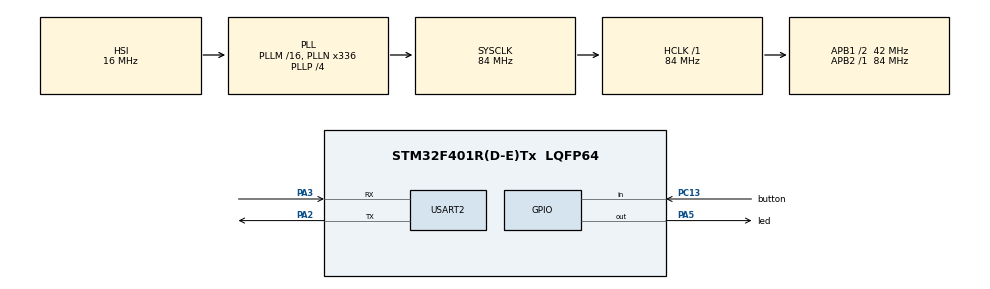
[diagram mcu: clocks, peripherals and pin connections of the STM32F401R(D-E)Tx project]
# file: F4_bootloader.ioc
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Mcu.Family=STM32F4
Mcu.Name=STM32F401R(D-E)Tx
Mcu.Package=LQFP64
NVIC.PriorityGroup=NVIC_PRIORITYGROUP_0
NVIC.USART2_IRQn=true\:0\:0\:false\:false\:true\:true\:true\:true
PA13.Mode=Serial_Wire
PA13.Signal=SYS_JTMS-SWDIO
PA14.Mode=Serial_Wire
PA14.Signal=SYS_JTCK-SWCLK
PA2.Mode=Asynchronous
PA2.Signal=USART2_TX
PA3.Mode=Asynchronous
PA3.Signal=USART2_RX
PA5.GPIO_Label=led
PA5.GPIO_Speed=GPIO_SPEED_FREQ_HIGH
PA5.Signal=GPIO_Output
PC13-ANTI_TAMP.GPIO_Label=button
PC13-ANTI_TAMP.GPIO_PuPd=GPIO_PULLUP
PC13-ANTI_TAMP.Signal=GPIO_Input
ProjectManager.HeapSize=0x200
ProjectManager.StackSize=0x400
ProjectManager.TargetToolchain=STM32CubeIDE
RCC.48MHZClocksFreq_Value=48000000
RCC.AHBFreq_Value=84000000
RCC.APB1CLKDivider=RCC_HCLK_DIV2
RCC.APB1Freq_Value=42000000
RCC.APB1TimFreq_Value=84000000
RCC.APB2Freq_Value=84000000
RCC.APB2TimFreq_Value=84000000
RCC.CortexFreq_Value=84000000
RCC.HCLKFreq_Value=84000000
RCC.HSE_VALUE=8000000
RCC.HSI_VALUE=16000000
RCC.PLLN=336
RCC.PLLP=RCC_PLLP_DIV4
RCC.PLLQ=7
RCC.SYSCLKFreq_VALUE=84000000
RCC.SYSCLKSource=RCC_SYSCLKSOURCE_PLLCLK
RCC.VCOOutputFreq_Value=336000000
USART2.VirtualMode=VM_ASYNC
board=NUCLEO-F401RE

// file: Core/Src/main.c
/* USER CODE BEGIN Header */
/**
  ******************************************************************************
  * @file           : main.c
  * @brief          : Main program body
  ******************************************************************************
  * @attention
  *
  * Copyright (c) 2026 STMicroelectronics.
  * All rights reserved.
  *
  * This software is licensed under terms that can be found in the LICENSE file
  * in the root directory of this software component.
  * If no LICENSE file comes with this software, it is provided AS-IS.
  *
  ******************************************************************************
  */
/* USER CODE END Header */
#include "main.h"

/* USER CODE BEGIN Includes */
#include "stdio.h"
#include "string.h"
#include "bootloader.h"
/* USER CODE END Includes */

UART_HandleTypeDef huart2;

/* USER CODE BEGIN PV */
uint8_t rxChar;
char messageBuffer[BUFFER_SIZE];
uint8_t bufferIndex;
uint8_t counterTest = 0;
uint32_t gotoAddress = 0x08008000UL;
uint8_t gotoAddressFlag = 0;
/* USER CODE END PV */

void SystemClock_Config(void);
static void MX_GPIO_Init(void);
static void MX_USART2_UART_Init(void);
/* USER CODE BEGIN PFP */
int _write(int file, char *ptr, int len);
void JumpToApp(uint32_t startAddress);
void uartSend(char *message);
/* USER CODE END PFP */

/* USER CODE BEGIN 0 */
int _write(int file, char *ptr, int len){
	int i=0;
	for(i = 0; i<len; i++)
		ITM_SendChar((*ptr++));
	return len;
}

void JumpToApp(uint32_t startAddress){

	uint32_t APP_STACK_POINTER = *(__IO uint32_t*) startAddress;
	uint32_t APP_RESET_HANDLER = *(__IO uint32_t*) (startAddress + 4);

	__disable_irq();
	HAL_RCC_DeInit();
	HAL_DeInit();
	__set_MSP(APP_STACK_POINTER);
	void (*AppResetHandler)(void);

	AppResetHandler = (void (*)(void)) APP_RESET_HANDLER;
	__enable_irq();
	AppResetHandler();
}

void uartSend(char *message){
	HAL_UART_Transmit(UART_PORT, (uint8_t*)message, strlen(message), HAL_MAX_DELAY);
}

/* USER CODE END 0 */

int main(void)
{

  /* MCU Configuration--------------------------------------------------------*/

  /* Reset of all peripherals, Initializes the Flash interface and the Systick. */
  HAL_Init();

  /* Configure the system clock */
  SystemClock_Config();

  /* Initialize all configured peripherals */
  MX_GPIO_Init();
  MX_USART2_UART_Init();
  /* USER CODE BEGIN 2 */
  HAL_UART_Receive_IT(&huart2, &rxChar, 1);

  /* USER CODE END 2 */

  /* Infinite loop */
  while (1)
  {

    /* USER CODE BEGIN 3 */
	if(!HAL_GPIO_ReadPin(button_GPIO_Port, button_Pin)){
		uartSend("going to app...\r\n");
#ifdef PRINT_DEBUG
		printf("going to app...\r\n");
#endif
		JumpToApp(gotoAddress);
	}
	if(gotoAddressFlag){
		JumpToApp(gotoAddress);
	}
  }
  /* USER CODE END 3 */
}

void SystemClock_Config(void)
{
  RCC_OscInitTypeDef RCC_OscInitStruct = {0};
  RCC_ClkInitTypeDef RCC_ClkInitStruct = {0};

  /** Configure the main internal regulator output voltage
  */
  __HAL_RCC_PWR_CLK_ENABLE();
  __HAL_PWR_VOLTAGESCALING_CONFIG(PWR_REGULATOR_VOLTAGE_SCALE2);

  /** Initializes the RCC Oscillators according to the specified parameters
  * in the RCC_OscInitTypeDef structure.
  */
  RCC_OscInitStruct.OscillatorType = RCC_OSCILLATORTYPE_HSI;
  RCC_OscInitStruct.HSIState = RCC_HSI_ON;
  RCC_OscInitStruct.HSICalibrationValue = RCC_HSICALIBRATION_DEFAULT;
  RCC_OscInitStruct.PLL.PLLState = RCC_PLL_ON;
  RCC_OscInitStruct.PLL.PLLSource = RCC_PLLSOURCE_HSI;
  RCC_OscInitStruct.PLL.PLLM = 16;
  RCC_OscInitStruct.PLL.PLLN = 336;
  RCC_OscInitStruct.PLL.PLLP = RCC_PLLP_DIV4;
  RCC_OscInitStruct.PLL.PLLQ = 7;
  if (HAL_RCC_OscConfig(&RCC_OscInitStruct) != HAL_OK)
  {
    Error_Handler();
  }

  /** Initializes the CPU, AHB and APB buses clocks
  */
  RCC_ClkInitStruct.ClockType = RCC_CLOCKTYPE_HCLK|RCC_CLOCKTYPE_SYSCLK
                              |RCC_CLOCKTYPE_PCLK1|RCC_CLOCKTYPE_PCLK2;
  RCC_ClkInitStruct.SYSCLKSource = RCC_SYSCLKSOURCE_PLLCLK;
  RCC_ClkInitStruct.AHBCLKDivider = RCC_SYSCLK_DIV1;
  RCC_ClkInitStruct.APB1CLKDivider = RCC_HCLK_DIV2;
  RCC_ClkInitStruct.APB2CLKDivider = RCC_HCLK_DIV1;

  if (HAL_RCC_ClockConfig(&RCC_ClkInitStruct, FLASH_LATENCY_2) != HAL_OK)
  {
    Error_Handler();
  }
}

static void MX_USART2_UART_Init(void)
{

  huart2.Instance = USART2;
  huart2.Init.BaudRate = 115200;
  huart2.Init.WordLength = UART_WORDLENGTH_8B;
  huart2.Init.StopBits = UART_STOPBITS_1;
  huart2.Init.Parity = UART_PARITY_NONE;
  huart2.Init.Mode = UART_MODE_TX_RX;
  huart2.Init.HwFlowCtl = UART_HWCONTROL_NONE;
  huart2.Init.OverSampling = UART_OVERSAMPLING_16;
  if (HAL_UART_Init(&huart2) != HAL_OK)
  {
    Error_Handler();
  }

}

static void MX_GPIO_Init(void)
{
  GPIO_InitTypeDef GPIO_InitStruct = {0};

  /* GPIO Ports Clock Enable */
  __HAL_RCC_GPIOC_CLK_ENABLE();
  __HAL_RCC_GPIOA_CLK_ENABLE();

  /*Configure GPIO pin Output Level */
  HAL_GPIO_WritePin(led_GPIO_Port, led_Pin, GPIO_PIN_RESET);

  /*Configure GPIO pin : button_Pin */
  GPIO_InitStruct.Pin = button_Pin;
  GPIO_InitStruct.Mode = GPIO_MODE_INPUT;
  GPIO_InitStruct.Pull = GPIO_PULLUP;
  HAL_GPIO_Init(button_GPIO_Port, &GPIO_InitStruct);

  /*Configure GPIO pin : led_Pin */
  GPIO_InitStruct.Pin = led_Pin;
  GPIO_InitStruct.Mode = GPIO_MODE_OUTPUT_PP;
  GPIO_InitStruct.Pull = GPIO_NOPULL;
  GPIO_InitStruct.Speed = GPIO_SPEED_FREQ_HIGH;
  HAL_GPIO_Init(led_GPIO_Port, &GPIO_InitStruct);

}

/* USER CODE BEGIN 4 */
void HAL_UART_RxCpltCallback(UART_HandleTypeDef *huart)
{
	if(huart->Instance == USART2){
		if(bufferIndex < BUFFER_SIZE -1){
			messageBuffer[bufferIndex++] = rxChar;
			messageBuffer[bufferIndex] = '\0';
		}
		if((messageBuffer[bufferIndex -2] == '\r') && (messageBuffer[bufferIndex -1] == '\n')){
			processBootloaderCommand();
		}
	}

	HAL_UART_Receive_IT(&huart2, &rxChar, 1);
}
/* USER CODE END 4 */

void Error_Handler(void)
{
  __disable_irq();
  while (1)
  {
  }
}
